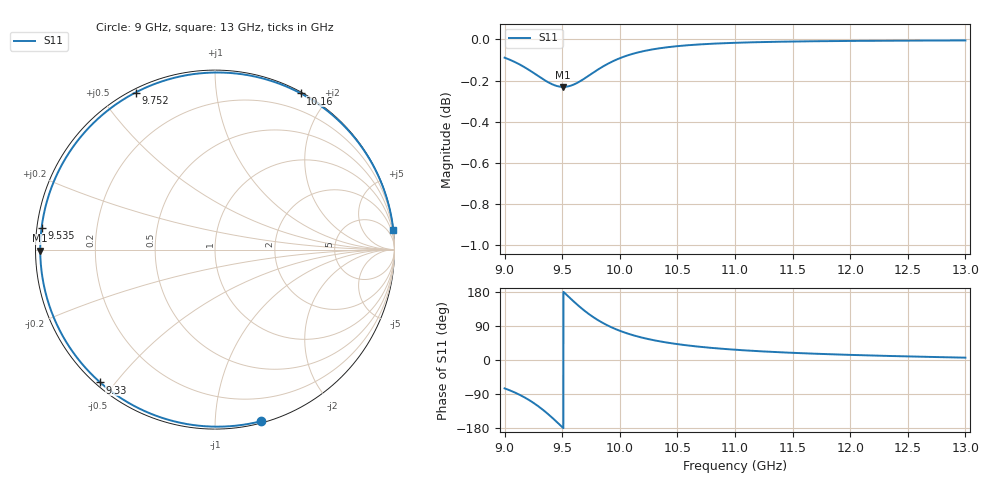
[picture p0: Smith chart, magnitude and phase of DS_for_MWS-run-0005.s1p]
! TOUCHSTONE file generated by CST DESIGN STUDIO
! Date and time: Wed Feb  5 13:28:56 2025
! Project name: C:\Work\MatlabApps\UnitCellOptimizationMatlab\CST\unitcell.cst
! Tree item: Tasks\Sweep1\SPara1\S-Parameters
! Header version: 2024
! Port assignment regex: !\s*Touchstone port\s*([0-9]+)\s*=\s*(CST MWS port|CST DES external port|CST DES block port)\s*(.+)\s* \(\"(.*)\"\)(\s*mode\s*([0-9]+))?.*
! Touchstone port assignment:
! Touchstone port 1 = CST DES external port 1 ("")
# GHz S MA R 50
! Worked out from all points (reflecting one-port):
!   4001 points, 9 GHz to 13 GHz, reference 50 ohm
!   lowest |S11| = -0.2 dB at 9.509 GHz (marker M1), VSWR 75.19, Z = 0.665 - j0.163 ohm
!   phase of S11 starts at -75 deg and turns -279 deg over the sweep
!   S11 on the Smith chart (normalised r, x): 9 GHz: 0.01, -1.31; 9.33 GHz: 0.01, -0.46; 9.535 GHz: 0.01, +0.06; 9.752 GHz: 0.01, +0.61; 10.16 GHz: 0.01, +1.69; 13 GHz: 0, +19
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9  0.9898 -74.9
9.088  0.9874 -85.7
9.191  0.9839 -101.8
9.263  0.9809 -115.7
9.33  0.9781 -130.8
9.376  0.9764 -142.4
9.423  0.9749 -155.0
9.462  0.9741 -166.0
9.5  0.9738 -177.0
9.509  0.9737 -179.6
9.535  0.9739 172.8
9.589  0.9748 157.4
9.649  0.9766 141.2
9.7  0.9786 128.5
9.752  0.9808 116.8
9.804  0.983 106.4
9.86  0.9852 96.5
10  0.9895 77.1
10.079  0.9913 68.7
10.165  0.9928 61.2
10.317  0.9948 50.9
10.5  0.9962 41.9
10.722  0.9973 34.1
11  0.9981 27.1
11.5  0.9988 18.9
12  0.9991 13.5
12.5  0.9993 9.5
13  0.9994 6.2
